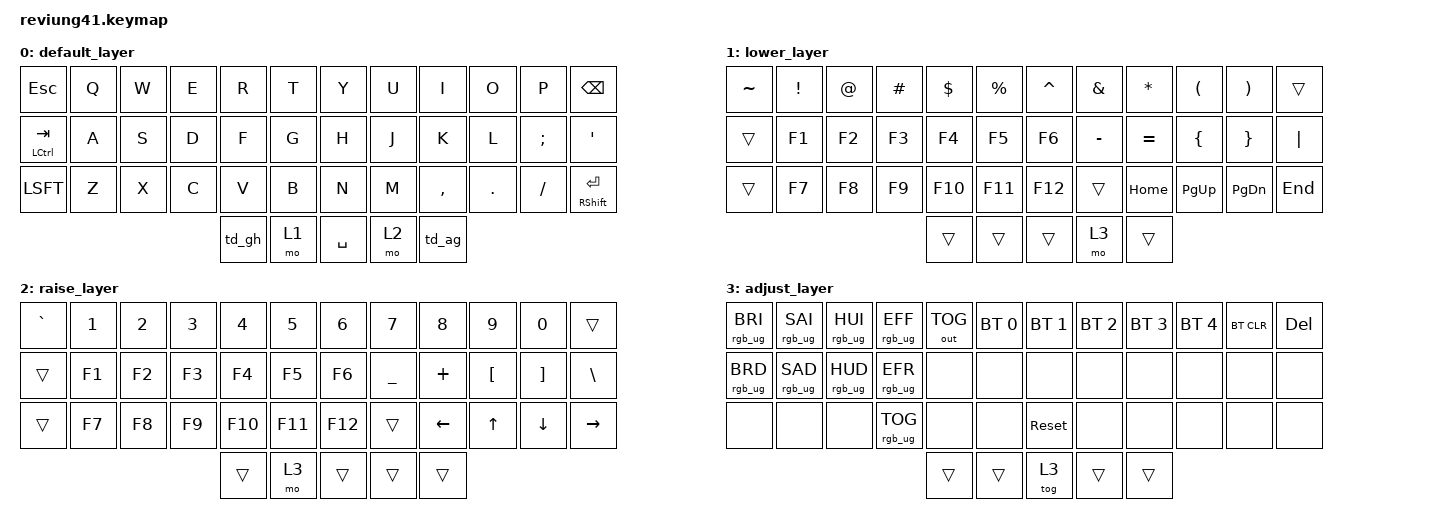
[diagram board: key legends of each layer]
/*
 * Copyright (c) 2020 The ZMK Contributors
 *
 * SPDX-License-Identifier: MIT
 */

#include <behaviors.dtsi>
#include <dt-bindings/zmk/keys.h>
#include <dt-bindings/zmk/bt.h>
#include <dt-bindings/zmk/rgb.h>
#include <dt-bindings/zmk/outputs.h>

/ {
    behaviors {
        td_gh: tap_dance_mod_tap {
            compatible = "zmk,behavior-tap-dance";
            #binding-cells = <0>;
            tapping-term-ms = <200>;
            bindings = <&kp LGUI>, <&kp LG(LC(LALT))>;
        };
        td_ag: tap_dance_alt_gui {
            compatible = "zmk,behavior-tap-dance";
            #binding-cells = <0>;
            tapping-term-ms = <200>;
            bindings = <&kp RALT>, <&kp RGUI>;
        };
    };

    keymap {
        compatible = "zmk,keymap";

        default_layer {
// ┌───────────────┬───────┬───────┬───────┬───────┬───────┐              ┌───────┬───────┬───────┬───────┬───────┬───────────────┐
// │  ESC          │   Q   │   W   │   E   │   R   │   T   │              │   Y   │   U   │   I   │   O   │   P   │  BSPC         │
// ├───────────────┼───────┼───────┼───────┼───────┼───────┤              ├───────┼───────┼───────┼───────┼───────┼───────────────┤
// │  TAB (Ctrl)   │   A   │   S   │   D   │   F   │   G   │              │   H   │   J   │   K   │   L   │   ;   │  '            │
// ├───────────────┼───────┼───────┼───────┼───────┼───────┤              ├───────┼───────┼───────┼───────┼───────┼───────────────┤
// │  SHIFT        │   Z   │   X   │   C   │   V   │   B   │              │   N   │   M   │   ,   │   .   │   /   │  ENTER (Shft) │
// └───────────────┴───────┴───────┴───────┴───────┴───────┘              └───────┴───────┴───────┴───────┴───────┴───────────────┘
//                                         ┌────────┬─────────┬─────────┬─────────┬────────┐
//                                         │  GUI   │  LOWER  │  SPACE  │  RAISE  │  RALT  │
//                                         └────────┴─────────┴─────────┴─────────┴────────┘
            bindings = <
&kp ESC        &kp Q  &kp W  &kp E  &kp R  &kp T      &kp Y  &kp U  &kp I      &kp O    &kp P     &kp BSPC
&mt LCTRL TAB  &kp A  &kp S  &kp D  &kp F  &kp G      &kp H  &kp J  &kp K      &kp L    &kp SEMI  &kp SQT
&kp LSFT       &kp Z  &kp X  &kp C  &kp V  &kp B      &kp N  &kp M  &kp COMMA  &kp DOT  &kp FSLH  &mt RSHFT RET
                                   &td_gh  &mo 1  &kp SPACE  &mo 2  &td_ag
            >;
        };

        lower_layer {
// ┌─────────┬─────┬─────┬─────┬─────┬─────┐               ┌─────┬─────┬─────┬─────┬─────┬─────────┐
// │  ~      │  !  │  @  │  #  │  $  │  %  │               │  ^  │  &  │  *  │  (  │  )  │         │
// ├─────────┼─────┼─────┼─────┼─────┼─────┤               ├─────┼─────┼─────┼─────┼─────┼─────────┤
// │         │ F1  │ F2  │ F3  │ F4  │ F5  │               │ F6  │  -  │  =  │  {  │  }  │  |      │
// ├─────────┼─────┼─────┼─────┼─────┼─────┤               ├─────┼─────┼─────┼─────┼─────┼─────────┤
// │         │ F7  │ F8  │ F9  │ F10 │ F11 │               │ F12 │     │HOME │PGUP │PGDN │ END     │
// └─────────┴─────┴─────┴─────┴─────┴─────┘               └─────┴─────┴─────┴─────┴─────┴─────────┘
//                              ┌──────┬───────┬───────┬───────┬──────┐
//                              │      │       │       │ ADJ   │      │
//                              └──────┴───────┴───────┴───────┴──────┘
            bindings = <
&kp TILDE  &kp EXCL  &kp AT  &kp HASH  &kp DLLR  &kp PRCNT      &kp CARET  &kp AMPS   &kp STAR   &kp LPAR   &kp RPAR   &trans
&trans     &kp F1    &kp F2  &kp F3    &kp F4    &kp F5         &kp F6     &kp MINUS  &kp EQUAL  &kp LBRC   &kp RBRC   &kp PIPE
&trans     &kp F7    &kp F8  &kp F9    &kp F10   &kp F11        &kp F12    &trans     &kp HOME   &kp PG_UP  &kp PG_DN  &kp END
                                       &trans  &trans  &trans  &mo 3  &trans
            >;
        };

        raise_layer {
// ┌─────────┬─────┬─────┬─────┬─────┬─────┐               ┌─────┬─────┬─────┬─────┬─────┬─────────┐
// │  `      │  1  │  2  │  3  │  4  │  5  │               │  6  │  7  │  8  │  9  │  0  │         │
// ├─────────┼─────┼─────┼─────┼─────┼─────┤               ├─────┼─────┼─────┼─────┼─────┼─────────┤
// │         │ F1  │ F2  │ F3  │ F4  │ F5  │               │ F6  │  _  │  +  │  [  │  ]  │  \      │
// ├─────────┼─────┼─────┼─────┼─────┼─────┤               ├─────┼─────┼─────┼─────┼─────┼─────────┤
// │         │ F7  │ F8  │ F9  │ F10 │ F11 │               │ F12 │     │  ←  │  ↑  │  ↓  │  →      │
// └─────────┴─────┴─────┴─────┴─────┴─────┘               └─────┴─────┴─────┴─────┴─────┴─────────┘
//                               ┌──────┬───────┬───────┬───────┬──────┐
//                               │      │ ADJ   │       │       │      │
//                               └──────┴───────┴───────┴───────┴──────┘
            bindings = <
&kp GRAVE  &kp N1  &kp N2  &kp N3  &kp N4   &kp N5       &kp N6   &kp N7     &kp N8    &kp N9    &kp N0    &trans
&trans     &kp F1  &kp F2  &kp F3  &kp F4   &kp F5       &kp F6   &kp UNDER  &kp PLUS  &kp LBKT  &kp RBKT  &kp BSLH
&trans     &kp F7  &kp F8  &kp F9  &kp F10  &kp F11      &kp F12  &trans     &kp LEFT  &kp UP    &kp DOWN  &kp RIGHT
                                   &trans  &mo 3  &trans  &trans  &trans
            >;
        };

        adjust_layer {
// ┌─────────┬─────────┬─────────┬─────────┬─────────┬─────────┐               ┌─────────┬─────────┬─────────┬─────────┬─────────┬─────────┐
// │ BRI+    │ SAT+    │ HUE+    │ EFF+    │ OUT TOG │  BT 0   │               │  BT 1   │  BT 2   │  BT 3   │  BT 4   │ BT CLR  │  DEL    │
// ├─────────┼─────────┼─────────┼─────────┼─────────┼─────────┤               ├─────────┼─────────┼─────────┼─────────┼─────────┼─────────┤
// │ BRI-    │ SAT-    │ HUE-    │ EFF-    │         │         │               │         │         │         │         │         │         │
// ├─────────┼─────────┼─────────┼─────────┼─────────┼─────────┤               ├─────────┼─────────┼─────────┼─────────┼─────────┼─────────┤
// │         │         │         │ RGB TOG │         │         │               │  RESET  │         │         │         │         │         │
// └─────────┴─────────┴─────────┴─────────┴─────────┴─────────┘               └─────────┴─────────┴─────────┴─────────┴─────────┴─────────┘
//                                             ┌────────┬─────────┬─────────┬─────────┬────────┐
//                                             │        │         │  TOG(3) │         │        │
//                                             └────────┴─────────┴─────────┴─────────┴────────┘
            bindings = <
&rgb_ug RGB_BRI  &rgb_ug RGB_SAI  &rgb_ug RGB_HUI  &rgb_ug RGB_EFF  &out OUT_TOG  &bt BT_SEL 0      &bt BT_SEL 1  &bt BT_SEL 2  &bt BT_SEL 3  &bt BT_SEL 4  &bt BT_CLR  &kp DEL
&rgb_ug RGB_BRD  &rgb_ug RGB_SAD  &rgb_ug RGB_HUD  &rgb_ug RGB_EFR  &none         &none             &none         &none         &none         &none         &none       &none
&none            &none            &none            &rgb_ug RGB_TOG  &none         &none             &sys_reset    &none         &none         &none         &none       &none
                                                                    &trans  &trans  &tog 3  &trans  &trans
            >;
        };
    };
};
